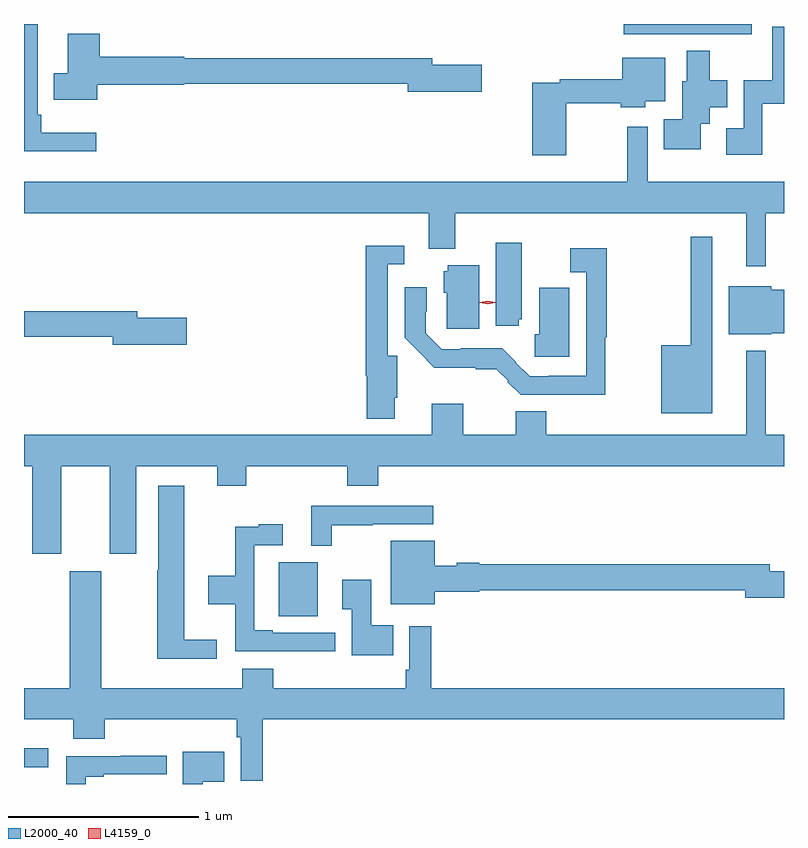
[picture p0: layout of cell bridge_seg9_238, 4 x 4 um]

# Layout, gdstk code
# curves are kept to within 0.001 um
import gdstk
lib = gdstk.Library(unit=1e-6, precision=1e-09)
def R(c, l, rs):  # rectangles x0, y0, x1, y1
    for r in rs: c.add(gdstk.rectangle(r[:2], r[2:], *l))
def P(c, l, *ps):  # polygons
    for p in ps: c.add(gdstk.Polygon(p, *l))
L2000_40 = (2000, 40)
L4159_0 = (4159, 0)

bridge_seg9_238 = lib.new_cell('bridge_seg9_238')
R(bridge_seg9_238, L2000_40, [(362.901,1165.532,363.028,1165.63), (364.241,1166.327,364.447,1166.611), (366.057,1169.388,366.73,1169.443)])
P(bridge_seg9_238, L2000_40, [(363.28,1168.87),(362.993,1168.87),(362.993,1168.966),(362.973,1168.966),(362.973,1169.281),(362.974,1169.281),(362.974,1169.443),(362.901,1169.443),(362.901,1168.772),(363.28,1168.772)],
  [(366.786,1169.024),(366.901,1169.024),(366.901,1169.428),(366.838,1169.428),(366.838,1169.146),(366.69,1169.146),(366.69,1168.894),(366.597,1168.894),(366.597,1168.754),(366.786,1168.754)],
  [(363.286,1169.123),(363.744,1169.123),(363.744,1169.128),(364.922,1169.128),(364.922,1169.086),(365.311,1169.086),(365.311,1169.228),(365.05,1169.228),(365.05,1169.264),(363.744,1169.264),(363.744,1169.27),(363.299,1169.27),(363.299,1169.393),(363.131,1169.393),(363.131,1169.185),(363.058,1169.185),(363.058,1169.045),(363.286,1169.045)],
  [(366.462,1168.919),(366.511,1168.919),(366.511,1169.006),(366.601,1169.006),(366.601,1169.146),(366.511,1169.146),(366.511,1169.303),(366.389,1169.303),(366.389,1169.142),(366.365,1169.142),(366.365,1168.942),(366.268,1168.942),(366.268,1168.784),(366.462,1168.784)],
  [(365.754,1169.025),(366.043,1169.025),(366.043,1169.006),(366.172,1169.006),(366.172,1169.036),(366.277,1169.036),(366.277,1169.266),(366.05,1169.266),(366.05,1169.153),(365.722,1169.153),(365.722,1169.133),(365.576,1169.133),(365.576,1168.752),(365.754,1168.752)],
  [(366.805,1168.448),(366.901,1168.448),(366.901,1168.612),(366.183,1168.612),(366.183,1168.903),(366.075,1168.903),(366.075,1168.612),(362.901,1168.612),(362.901,1168.448),(365.03,1168.448),(365.03,1168.259),(365.17,1168.259),(365.17,1168.448),(366.701,1168.448),(366.701,1168.167),(366.805,1168.167)],
  [(366.523,1168.324),(366.409,1168.324),(366.409,1167.751),(366.254,1167.751),(366.254,1167.395),(366.523,1167.395)],
  [(365.506,1167.888),(365.521,1167.888),(365.521,1168.291),(365.384,1168.291),(365.384,1167.854),(365.506,1167.854)],
  [(364.852,1167.475),(364.865,1167.475),(364.865,1167.696),(364.815,1167.696),(364.815,1168.179),(364.903,1168.179),(364.903,1168.276),(364.699,1168.276),(364.699,1167.593),(364.706,1167.593),(364.706,1167.365),(364.852,1167.365)],
  [(365.96,1167.795),(365.968,1167.795),(365.968,1168.264),(365.776,1168.264),(365.776,1168.136),(365.859,1168.136),(365.859,1167.592),(365.662,1167.592),(365.662,1167.588),(365.562,1167.588),(365.49,1167.66),(365.492,1167.662),(365.418,1167.736),(365.2,1167.736),(365.2,1167.732),(365.1,1167.732),(365.016,1167.816),(365.016,1167.929),(365.02,1167.929),(365.02,1168.057),(364.904,1168.057),(364.904,1167.792),(365.059,1167.635),(365.279,1167.635),(365.279,1167.627),(365.387,1167.627),(365.449,1167.565),(365.445,1167.561),(365.515,1167.491),(365.96,1167.491)],
  [(365.296,1168.174),(365.13,1168.174),(365.13,1168.143),(365.111,1168.143),(365.111,1168.029),(365.127,1168.029),(365.127,1167.84),(365.296,1167.84)],
  [(366.834,1167.815),(366.901,1167.815),(366.901,1168.045),(366.834,1168.045),(366.834,1168.063),(366.611,1168.063),(366.611,1167.809),(366.834,1167.809)],
  [(365.77,1168.055),(365.612,1168.055),(365.612,1167.81),(365.589,1167.81),(365.589,1167.693),(365.77,1167.693)],
  [(363.757,1167.896),(363.496,1167.896),(363.496,1167.932),(362.901,1167.932),(362.901,1167.796),(363.368,1167.796),(363.368,1167.754),(363.757,1167.754)],
  [(363.097,1167.116),(363.353,1167.116),(363.353,1166.655),(363.493,1166.655),(363.493,1167.116),(363.917,1167.116),(363.917,1167.014),(364.07,1167.014),(364.07,1167.116),(364.601,1167.116),(364.601,1167.014),(364.766,1167.014),(364.766,1167.116),(366.901,1167.116),(366.901,1167.28),(366.805,1167.28),(366.805,1167.724),(366.701,1167.724),(366.701,1167.28),(365.65,1167.28),(365.65,1167.406),(365.489,1167.406),(365.489,1167.28),(365.212,1167.28),(365.212,1167.445),(365.048,1167.445),(365.048,1167.28),(362.901,1167.28),(362.901,1167.116),(362.945,1167.116),(362.945,1166.655),(363.097,1166.655)],
  [(363.916,1166.201),(363.745,1166.201),(363.745,1167.013),(363.608,1167.013),(363.608,1166.567),(363.601,1166.567),(363.601,1166.102),(363.916,1166.102)],
  [(364.522,1166.806),(364.736,1166.806),(364.736,1166.811),(365.056,1166.811),(365.056,1166.907),(364.412,1166.907),(364.412,1166.696),(364.522,1166.696)],
  [(364.54,1166.238),(364.21,1166.238),(364.21,1166.251),(364.113,1166.251),(364.113,1166.7),(364.264,1166.7),(364.264,1166.809),(364.136,1166.809),(364.136,1166.798),(364.012,1166.798),(364.012,1166.538),(363.87,1166.538),(363.87,1166.39),(364.012,1166.39),(364.012,1166.142),(364.297,1166.142),(364.297,1166.141),(364.54,1166.141)],
  [(365.062,1166.456),(365.298,1166.456),(365.298,1166.464),(366.698,1166.464),(366.698,1166.422),(366.901,1166.422),(366.901,1166.564),(366.826,1166.564),(366.826,1166.6),(365.298,1166.6),(365.298,1166.608),(365.178,1166.608),(365.178,1166.593),(365.062,1166.593),(365.062,1166.722),(364.832,1166.722),(364.832,1166.39),(365.062,1166.39)],
  [(364.157,1165.784),(366.901,1165.784),(366.901,1165.948),(365.045,1165.948),(365.045,1166.272),(364.929,1166.272),(364.929,1166.044),(364.909,1166.044),(364.909,1165.948),(364.214,1165.948),(364.214,1166.05),(364.049,1166.05),(364.049,1165.948),(363.307,1165.948),(363.307,1166.563),(363.143,1166.563),(363.143,1165.948),(362.901,1165.948),(362.901,1165.784),(363.161,1165.784),(363.161,1165.682),(363.326,1165.682),(363.326,1165.784),(364.021,1165.784),(364.021,1165.688),(364.041,1165.688),(364.041,1165.461),(364.157,1165.461)],
  [(364.844,1166.278),(364.729,1166.278),(364.729,1166.518),(364.575,1166.518),(364.575,1166.362),(364.625,1166.362),(364.625,1166.12),(364.844,1166.12)],
  [(363.841,1165.454),(363.956,1165.454),(363.956,1165.612),(363.737,1165.612),(363.737,1165.443),(363.841,1165.443)],
  [(363.225,1165.482),(363.322,1165.482),(363.322,1165.494),(363.652,1165.494),(363.652,1165.592),(363.409,1165.592),(363.409,1165.59),(363.124,1165.59),(363.124,1165.443),(363.225,1165.443)])
P(bridge_seg9_238, L4159_0, [(365.341,1167.967),(365.3,1167.977),(365.3,1167.977),(365.3,1167.978),(365.341,1167.987),(365.382,1167.978),(365.382,1167.977),(365.382,1167.977)])

lib.write_gds('bridge_seg9_238.gds')
